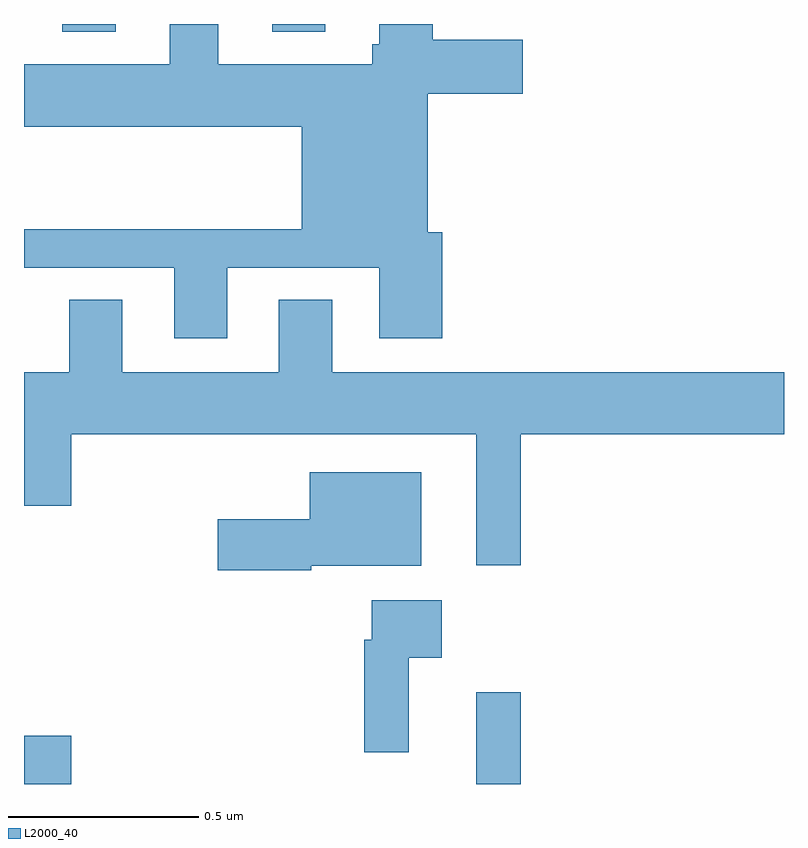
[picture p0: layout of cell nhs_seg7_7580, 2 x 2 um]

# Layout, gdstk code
import gdstk
lib = gdstk.Library(unit=1e-6, precision=1e-09)
def R(c, l, rs):  # rectangles x0, y0, x1, y1
    for r in rs: c.add(gdstk.rectangle(r[:2], r[2:], *l))
def P(c, l, *ps):  # polygons
    for p in ps: c.add(gdstk.Polygon(p, *l))
L2000_40 = (2000, 40)

nhs_seg7_7580 = lib.new_cell('nhs_seg7_7580')
R(nhs_seg7_7580, L2000_40, [(213,1029,213.124,1029.127), (214.19,1029,214.307,1029.241), (213.101,1030.979,213.241,1031), (213.653,1030.979,213.793,1031)])
P(nhs_seg7_7580, L2000_40, [(213.535,1030.359),(213.935,1030.359),(213.935,1030.173),(214.1,1030.173),(214.1,1030.452),(214.063,1030.452),(214.063,1030.817),(214.312,1030.817),(214.312,1030.959),(214.076,1030.959),(214.076,1031),(213.935,1031),(213.935,1030.947),(213.916,1030.947),(213.916,1030.894),(213.511,1030.894),(213.511,1031),(213.383,1031),(213.383,1030.894),(213,1030.894),(213,1030.73),(213.731,1030.73),(213.731,1030.46),(213,1030.46),(213,1030.359),(213.395,1030.359),(213.395,1030.173),(213.535,1030.173)],
  [(214.307,1029.92),(215,1029.92),(215,1030.084),(213.811,1030.084),(213.811,1030.274),(213.671,1030.274),(213.671,1030.084),(213.259,1030.084),(213.259,1030.274),(213.119,1030.274),(213.119,1030.084),(213,1030.084),(213,1029.732),(213.124,1029.732),(213.124,1029.92),(214.19,1029.92),(214.19,1029.576),(214.307,1029.576)],
  [(213.756,1029.575),(214.045,1029.575),(214.045,1029.82),(213.752,1029.82),(213.752,1029.697),(213.51,1029.697),(213.51,1029.563),(213.756,1029.563)],
  [(214.013,1029.332),(214.099,1029.332),(214.099,1029.484),(213.915,1029.484),(213.915,1029.38),(213.895,1029.38),(213.895,1029.084),(214.013,1029.084)])

lib.write_gds('nhs_seg7_7580.gds')
